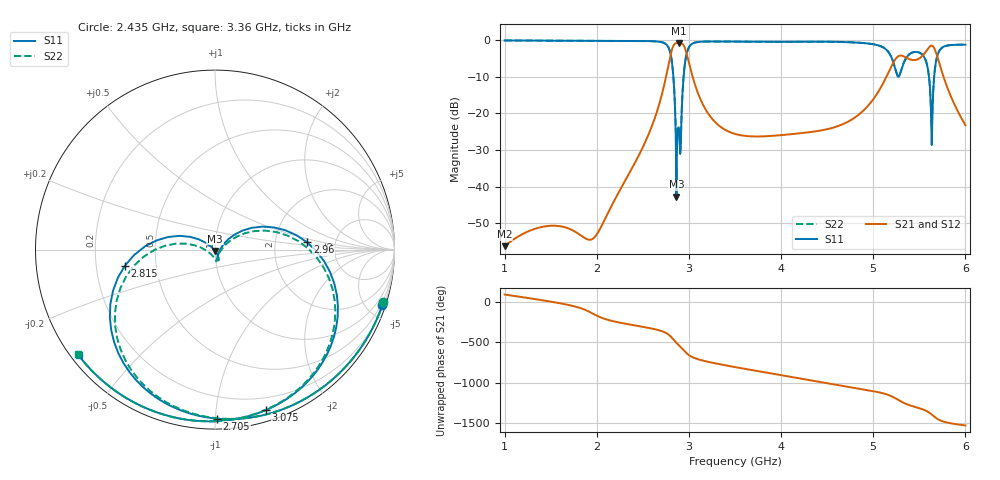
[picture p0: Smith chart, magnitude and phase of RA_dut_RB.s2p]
! Created Fri Aug  9 08:59:16 2024
! List of port names and net name(s): example Port n = <port_name> <net_name1> <net_name2> ...
! Port 1 = P1 P1
! Port 2 = P2 P2
# hz S ri R 50
! 2 Port Network Data from data block
! freq  reS11  imS11  reS21  imS21  reS12  imS12  reS22  imS22
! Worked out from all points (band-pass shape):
!   1001 points, 1 GHz to 6 GHz, reference 50 ohm
!   highest |S21| = -0.71 dB at 2.895 GHz (marker M1); lowest = -56.3 dB at 1 GHz (marker M2)
!   |S21| within 3 dB of the highest: 2.804 GHz to 2.976 GHz (172.2 MHz wide, 5.96 % of centre); 5.552 GHz to 5.686 GHz (133.5 MHz wide, 2.38 % of centre)
!   lowest |S11| = -42.7 dB at 2.865 GHz (marker M3), VSWR 1.01, Z = 50 - j0.731 ohm
!   |S11| at or under -10 dB: 2.831 GHz to 2.942 GHz (110.9 MHz wide, 3.84 % of centre); 5.605 GHz to 5.661 GHz (55.93 MHz wide, 0.993 % of centre)
!   |S22| runs from -30.1 to 0.0 dB; largest |S21 - S12| = 0
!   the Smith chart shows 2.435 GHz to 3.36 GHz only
!   S11 on the Smith chart (normalised r, x): 2.435 GHz: 0.36, -6.18; 2.705 GHz: 0.06, -1.01; 2.815 GHz: 0.33, -0.08; 2.96 GHz: 3.08, +0.34; 3.075 GHz: 0.09, -1.36; 3.36 GHz: 0.02, -0.34
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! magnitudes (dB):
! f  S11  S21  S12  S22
! 1 GHz  0.0  -56.3  -56.3  0.0
! 1.455 GHz  -0.1  -50.8  -50.8  -0.1
! 1.835 GHz  -0.1  -53.5  -53.5  -0.1
! 1.995 GHz  -0.1  -53.2  -53.2  -0.1
! 2.435 GHz  -0.2  -32.5  -32.5  -0.2
! 2.67 GHz  -0.4  -18.1  -18.1  -0.4
! 2.705 GHz  -0.5  -15.0  -15.0  -0.5
! 2.815 GHz  -5.9  -2.6  -2.6  -5.8
! 2.865 GHz  -42.7  -0.8  -0.8  -29.4
! 2.895 GHz  -25.3  -0.7  -0.7  -25.1
! 2.96 GHz  -5.8  -2.4  -2.4  -5.7
! 3.075 GHz  -0.6  -12.8  -12.8  -0.5
! 3.36 GHz  -0.3  -24.0  -24.0  -0.3
! 3.5 GHz  -0.4  -25.6  -25.6  -0.4
! 4.335 GHz  -0.4  -25.0  -25.0  -0.4
! 4.835 GHz  -0.6  -20.5  -20.5  -0.6
! 5.17 GHz  -3.4  -8.5  -8.5  -3.3
! 5.275 GHz  -9.9  -4.3  -4.3  -9.7
! 5.53 GHz  -3.9  -4.3  -4.3  -3.8
! 5.645 GHz  -17.7  -1.6  -1.6  -17.0
! 5.72 GHz  -2.8  -6.5  -6.5  -2.7
! 6 GHz  -1.2  -23.2  -23.2  -1.2
